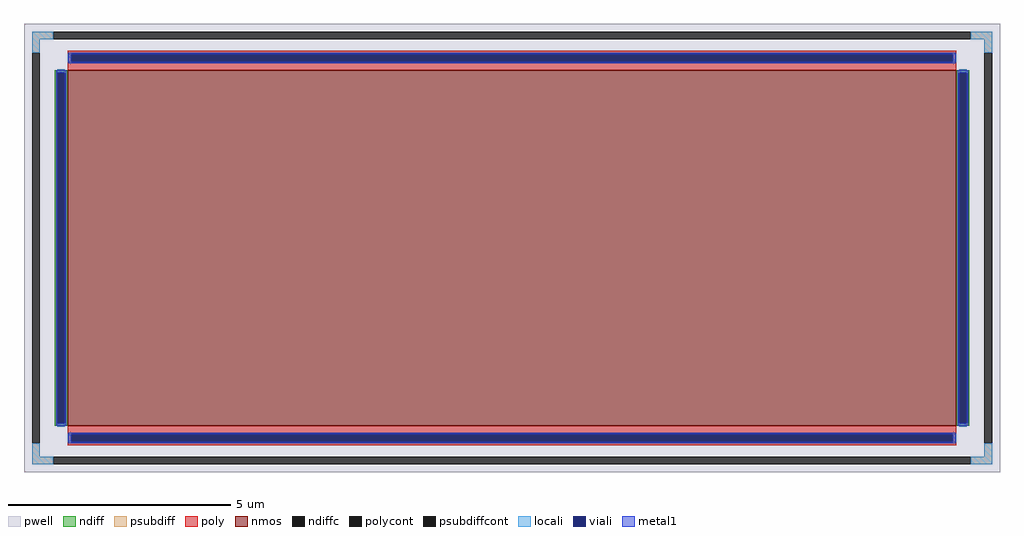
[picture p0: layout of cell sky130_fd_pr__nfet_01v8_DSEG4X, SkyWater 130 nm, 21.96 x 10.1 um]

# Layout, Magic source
magic
tech sky130A
<< pwell >>
rect -1098 -505 1098 505
<< nmos >>
rect -1000 -400 1000 400
<< ndiff >>
rect -1029 394 -1000 400
rect -1029 -394 -1023 394
rect -1006 -394 -1000 394
rect -1029 -400 -1000 -394
rect 1000 394 1029 400
rect 1000 -394 1006 394
rect 1023 -394 1029 394
rect 1000 -400 1029 -394
<< ndiffc >>
rect -1023 -394 -1006 394
rect 1006 -394 1023 394
<< psubdiff >>
rect -1080 470 -1032 487
rect 1032 470 1080 487
rect -1080 439 -1063 470
rect 1063 439 1080 470
rect -1080 -470 -1063 -439
rect 1063 -470 1080 -439
rect -1080 -487 -1032 -470
rect 1032 -487 1080 -470
<< psubdiffcont >>
rect -1032 470 1032 487
rect -1080 -439 -1063 439
rect 1063 -439 1080 439
rect -1032 -487 1032 -470
<< poly >>
rect -1000 436 1000 444
rect -1000 419 -992 436
rect 992 419 1000 436
rect -1000 400 1000 419
rect -1000 -419 1000 -400
rect -1000 -436 -992 -419
rect 992 -436 1000 -419
rect -1000 -444 1000 -436
<< polycont >>
rect -992 419 992 436
rect -992 -436 992 -419
<< locali >>
rect -1080 470 -1032 487
rect 1032 470 1080 487
rect -1080 439 -1063 470
rect 1063 439 1080 470
rect -1000 419 -992 436
rect 992 419 1000 436
rect -1023 394 -1006 402
rect -1023 -402 -1006 -394
rect 1006 394 1023 402
rect 1006 -402 1023 -394
rect -1000 -436 -992 -419
rect 992 -436 1000 -419
rect -1080 -470 -1063 -439
rect 1063 -470 1080 -439
rect -1080 -487 -1032 -470
rect 1032 -487 1080 -470
<< viali >>
rect -992 419 992 436
rect -1023 -394 -1006 394
rect 1006 -394 1023 394
rect -992 -436 992 -419
<< metal1 >>
rect -998 436 998 439
rect -998 419 -992 436
rect 992 419 998 436
rect -998 416 998 419
rect -1026 394 -1003 400
rect -1026 -394 -1023 394
rect -1006 -394 -1003 394
rect -1026 -400 -1003 -394
rect 1003 394 1026 400
rect 1003 -394 1006 394
rect 1023 -394 1026 394
rect 1003 -400 1026 -394
rect -998 -419 998 -416
rect -998 -436 -992 -419
rect 992 -436 998 -419
rect -998 -439 998 -436
<< properties >>
string FIXED_BBOX -1071 -478 1071 478
string gencell sky130_fd_pr__nfet_01v8
string library sky130
string parameters w 8 l 20 m 1 nf 1 diffcov 100 polycov 100 guard 1 glc 1 grc 1 gtc 1 gbc 1 tbcov 100 rlcov 100 topc 1 botc 1 poverlap 0 doverlap 1 lmin 0.15 wmin 0.42 compatible {sky130_fd_pr__nfet_01v8 sky130_fd_pr__nfet_01v8_lvt  sky130_fd_bs_flash__special_sonosfet_star  sky130_fd_pr__nfet_g5v0d10v5 sky130_fd_pr__nfet_05v0_nvt  sky130_fd_pr__nfet_03v3_nvt} full_metal 1 viasrc 100 viadrn 100 viagate 100 viagb 0 viagr 0 viagl 0 viagt 0
<< end >>
